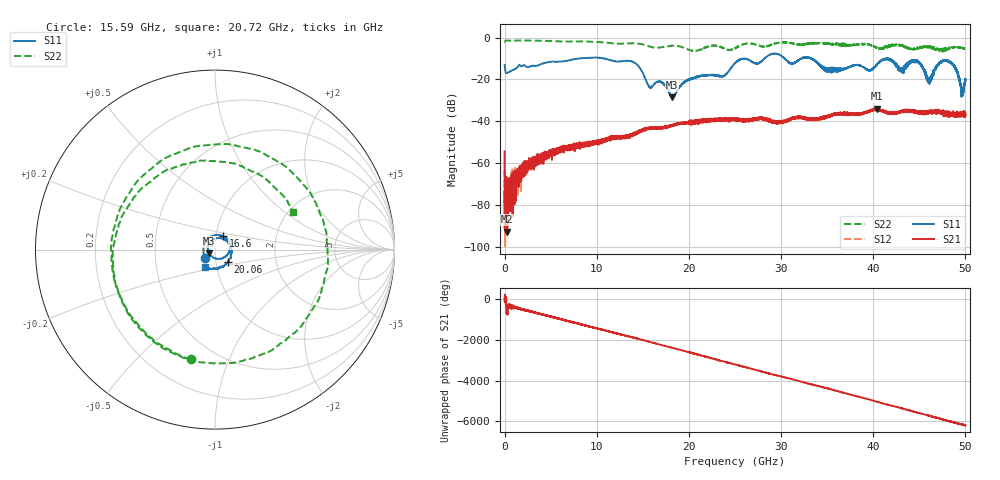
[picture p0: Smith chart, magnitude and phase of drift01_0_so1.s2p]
!Created with skrf (http://scikit-rf.org).
# Hz S RI R 50.0
!freq ReS11 ImS11 ReS21 ImS21 ReS12 ImS12 ReS22 ImS22
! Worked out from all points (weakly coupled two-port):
!   10001 points, 300 kHz to 50 GHz, reference 50 ohm
!   highest |S21| = -33.99 dB at 40.41 GHz (marker M1); lowest = -92.7 dB at 235.3 MHz (marker M2)
!   lowest |S11| = -28.5 dB at 18.16 GHz (marker M3), VSWR 1.08, Z = 46.9 - j1.89 ohm
!   |S11| at or under -10 dB: 10.81 GHz to 25.83 GHz (15.02 GHz wide, 82 % of centre); 33.26 GHz to 41.4 GHz (8.147 GHz wide, 21.8 % of centre); 41.6 GHz to end of sweep (the widest 3 of 16)
!   |S22| runs from -6.7 to -1.4 dB; largest |S21 - S12| = 0.0035
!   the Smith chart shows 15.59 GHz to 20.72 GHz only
!   S11 on the Smith chart (normalised r, x): 15.59 GHz: 0.89, -0.09; 16.6 GHz: 1.08, +0.16; 20.06 GHz: 1.14, -0.16; 20.72 GHz: 0.87, -0.17
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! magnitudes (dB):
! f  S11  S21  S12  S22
! 300 kHz  -13.1  -54.4  -63.1  -2.1
! 235.3 MHz  -16.9  -92.7  -76.9  -1.4
! 2.355 GHz  -13.9  -63.4  -62.2  -1.4
! 8.335 GHz  -9.9  -51.2  -51.4  -1.8
! 13.88 GHz  -11.5  -46.4  -46.4  -2.7
! 15.59 GHz  -22.8  -43.2  -43.2  -4.1
! 16.6 GHz  -21.2  -43.4  -43.2  -4.8
! 16.67 GHz  -21.0  -43.5  -43.3  -4.8
! 18.16 GHz  -28.5  -41.9  -42.1  -3.9
! 20.06 GHz  -20.0  -41.3  -40.7  -5.9
! 20.72 GHz  -18.9  -40.2  -40.1  -6.3
! 25 GHz  -12.2  -38.9  -39.4  -5.1
! 33.34 GHz  -10.2  -39.1  -38.8  -2.7
! 35.09 GHz  -15.3  -37.6  -37.6  -2.8
! 40.41 GHz  -12.8  -34.0  -34.5  -4.8
! 41.67 GHz  -10.5  -35.8  -36.3  -4.3
! 43.07 GHz  -15.0  -35.3  -35.3  -3.6
! 44.78 GHz  -11.5  -36.0  -35.5  -4.9
! 46.08 GHz  -21.2  -35.6  -35.3  -4.4
! 48.1 GHz  -11.3  -36.9  -36.4  -5.0
! 49.62 GHz  -26.0  -36.7  -36.4  -4.9
! 50 GHz  -20.8  -36.1  -36.8  -5.4
